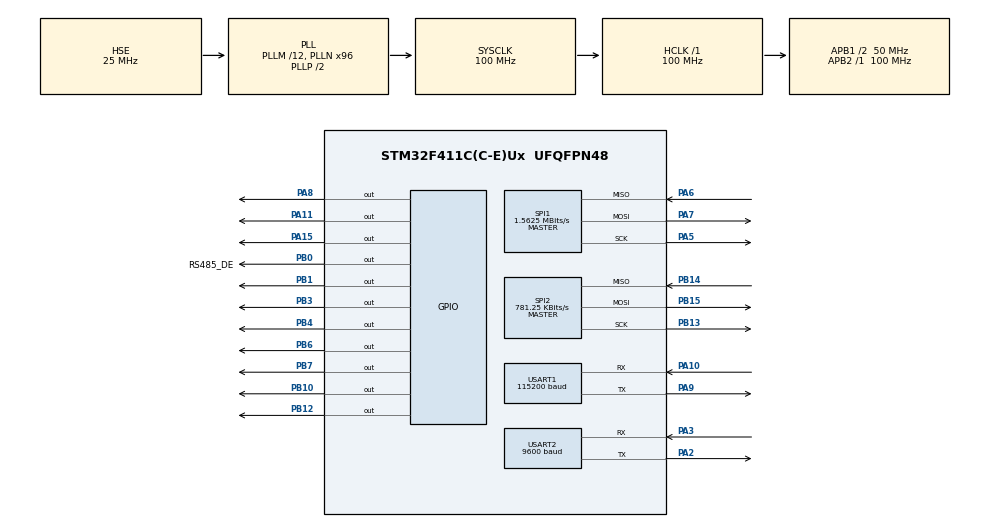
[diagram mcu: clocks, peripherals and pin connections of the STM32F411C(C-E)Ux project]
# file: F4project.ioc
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Dma.Request0=USART1_RX
Dma.Request1=USART1_TX
Dma.USART1_RX.0.Direction=DMA_PERIPH_TO_MEMORY
Dma.USART1_RX.0.FIFOMode=DMA_FIFOMODE_DISABLE
Dma.USART1_RX.0.Instance=DMA2_Stream2
Dma.USART1_RX.0.MemDataAlignment=DMA_MDATAALIGN_BYTE
Dma.USART1_RX.0.MemInc=DMA_MINC_ENABLE
Dma.USART1_RX.0.Mode=DMA_NORMAL
Dma.USART1_RX.0.PeriphDataAlignment=DMA_PDATAALIGN_BYTE
Dma.USART1_RX.0.PeriphInc=DMA_PINC_DISABLE
Dma.USART1_RX.0.Priority=DMA_PRIORITY_LOW
Dma.USART1_TX.1.Direction=DMA_MEMORY_TO_PERIPH
Dma.USART1_TX.1.FIFOMode=DMA_FIFOMODE_DISABLE
Dma.USART1_TX.1.Instance=DMA2_Stream7
Dma.USART1_TX.1.MemDataAlignment=DMA_MDATAALIGN_BYTE
Dma.USART1_TX.1.MemInc=DMA_MINC_ENABLE
Dma.USART1_TX.1.Mode=DMA_NORMAL
Dma.USART1_TX.1.PeriphDataAlignment=DMA_PDATAALIGN_BYTE
Dma.USART1_TX.1.PeriphInc=DMA_PINC_DISABLE
Dma.USART1_TX.1.Priority=DMA_PRIORITY_LOW
FREERTOS.Tasks01=defaultTask,24,128,StartDefaultTask,Default,NULL,Dynamic,NULL,NULL
FREERTOS.configUSE_TICKLESS_IDLE=2
IWDG.Prescaler=IWDG_PRESCALER_256
IWDG.Reload=2500-1
Mcu.Family=STM32F4
Mcu.Name=STM32F411C(C-E)Ux
Mcu.Package=UFQFPN48
NVIC.DMA2_Stream2_IRQn=true\:5\:0\:false\:false\:true\:true\:false\:true\:true
NVIC.DMA2_Stream7_IRQn=true\:5\:0\:false\:false\:true\:true\:false\:true\:true
NVIC.PriorityGroup=NVIC_PRIORITYGROUP_4
NVIC.RTC_WKUP_IRQn=true\:5\:0\:false\:false\:true\:true\:true\:true\:true
NVIC.TIM3_IRQn=true\:5\:0\:false\:false\:true\:true\:true\:true\:true
NVIC.TIM4_IRQn=true\:15\:0\:false\:false\:true\:false\:false\:true\:true
NVIC.TimeBase=TIM4_IRQn
NVIC.TimeBaseIP=TIM4
NVIC.USART1_IRQn=true\:5\:0\:false\:false\:true\:true\:true\:true\:true
NVIC.USART2_IRQn=true\:5\:0\:false\:false\:true\:true\:true\:true\:true
PA10.Mode=Asynchronous
PA10.Signal=USART1_RX
PA11.Signal=GPIO_Output
PA13.Mode=Serial_Wire
PA13.Signal=SYS_JTMS-SWDIO
PA14.Mode=Serial_Wire
PA14.Signal=SYS_JTCK-SWCLK
PA15.Signal=GPIO_Output
PA2.Mode=Asynchronous
PA2.Signal=USART2_TX
PA3.Mode=Asynchronous
PA3.Signal=USART2_RX
PA5.Mode=Full_Duplex_Master
PA5.Signal=SPI1_SCK
PA6.Mode=Full_Duplex_Master
PA6.Signal=SPI1_MISO
PA7.Mode=Full_Duplex_Master
PA7.Signal=SPI1_MOSI
PA8.PinState=GPIO_PIN_SET
PA8.Signal=GPIO_Output
PA9.GPIO_PuPd=GPIO_PULLUP
PA9.Mode=Asynchronous
PA9.Signal=USART1_TX
PB0.GPIO_Label=RS485_DE
PB0.Signal=GPIO_Output
PB1.Signal=GPIO_Output
PB10.GPIO_ModeDefaultOutputPP=GPIO_MODE_OUTPUT_PP
PB10.GPIO_PuPd=GPIO_NOPULL
PB10.PinState=GPIO_PIN_SET
PB10.Signal=GPIO_Output
PB12.PinState=GPIO_PIN_SET
PB12.Signal=GPIO_Output
PB13.Mode=Full_Duplex_Master
PB13.Signal=SPI2_SCK
PB14.Mode=Full_Duplex_Master
PB14.Signal=SPI2_MISO
PB15.Mode=Full_Duplex_Master
PB15.Signal=SPI2_MOSI
PB3.PinState=GPIO_PIN_SET
PB3.Signal=GPIO_Output
PB4.PinState=GPIO_PIN_SET
PB4.Signal=GPIO_Output
PB6.GPIO_ModeDefaultOutputPP=GPIO_MODE_OUTPUT_PP
PB6.GPIO_PuPd=GPIO_NOPULL
PB6.PinState=GPIO_PIN_SET
PB6.Signal=GPIO_Output
PB7.GPIO_ModeDefaultOutputPP=GPIO_MODE_OUTPUT_PP
PB7.GPIO_PuPd=GPIO_NOPULL
PB7.PinState=GPIO_PIN_SET
PB7.Signal=GPIO_Output
PC14-OSC32_IN.Mode=LSE-External-Oscillator
PC14-OSC32_IN.Signal=RCC_OSC32_IN
PC15-OSC32_OUT.Mode=LSE-External-Oscillator
PC15-OSC32_OUT.Signal=RCC_OSC32_OUT
PH0\ -\ OSC_IN.Mode=HSE-External-Oscillator
PH0\ -\ OSC_IN.Signal=RCC_OSC_IN
PH1\ -\ OSC_OUT.Mode=HSE-External-Oscillator
PH1\ -\ OSC_OUT.Signal=RCC_OSC_OUT
ProjectManager.HeapSize=0x200
ProjectManager.StackSize=0x400
ProjectManager.TargetToolchain=MDK-ARM V5.32
RCC.48MHZClocksFreq_Value=50000000
RCC.AHBFreq_Value=100000000
RCC.APB1CLKDivider=RCC_HCLK_DIV2
RCC.APB1Freq_Value=50000000
RCC.APB1TimFreq_Value=100000000
RCC.APB2Freq_Value=100000000
RCC.APB2TimFreq_Value=100000000
RCC.CortexFreq_Value=100000000
RCC.HCLKFreq_Value=100000000
RCC.HSE_VALUE=25000000
RCC.HSI_VALUE=16000000
RCC.PLLM=12
RCC.PLLN=96
RCC.PLLSourceVirtual=RCC_PLLSOURCE_HSE
RCC.RCC_RTC_Clock_Source=RCC_RTCCLKSOURCE_LSE
RCC.RCC_RTC_Clock_SourceVirtual=RCC_RTCCLKSOURCE_LSE
RCC.SYSCLKFreq_VALUE=100000000
RCC.SYSCLKSource=RCC_SYSCLKSOURCE_PLLCLK
RCC.VCOOutputFreq_Value=200000000
SPI1.BaudRatePrescaler=SPI_BAUDRATEPRESCALER_64
SPI1.CalculateBaudRate=1.5625 MBits/s
SPI1.Direction=SPI_DIRECTION_2LINES
SPI1.Mode=SPI_MODE_MASTER
SPI1.VirtualType=VM_MASTER
SPI2.BaudRatePrescaler=SPI_BAUDRATEPRESCALER_64
SPI2.CalculateBaudRate=781.25 KBits/s
SPI2.Direction=SPI_DIRECTION_2LINES
SPI2.Mode=SPI_MODE_MASTER
SPI2.VirtualType=VM_MASTER
TIM3.Period=1000-1
TIM3.Prescaler=100-1
USART1.BaudRate=115200
USART1.VirtualMode=VM_ASYNC
USART2.BaudRate=9600
USART2.VirtualMode=VM_ASYNC
VP_FREERTOS_VS_CMSIS_V2.Mode=CMSIS_V2
VP_IWDG_VS_IWDG.Mode=IWDG_Activate
VP_RTC_VS_RTC_Activate.Mode=RTC_Enabled
VP_RTC_VS_RTC_WakeUp_intern.Mode=WakeUp
VP_SYS_VS_tim4.Mode=TIM4
VP_TIM3_VS_ClockSourceINT.Mode=Internal
board=custom

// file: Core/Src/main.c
/* USER CODE BEGIN Header */
/**
  ******************************************************************************
  * @file           : main.c
  * @brief          : Main program body
  ******************************************************************************
  * @attention
  *
  * Copyright (c) 2026 STMicroelectronics.
  * All rights reserved.
  *
  * This software is licensed under terms that can be found in the LICENSE file
  * in the root directory of this software component.
  * If no LICENSE file comes with this software, it is provided AS-IS.
  *
  ******************************************************************************
  */
/* USER CODE END Header */
#include "main.h"
#include "FreeRTOS.h"   /* configUSE_PREEMPTION / configTICK_RATE_HZ ... */
#include "task.h"       /* vTaskStartScheduler() —— 原生 API，替代 osKernelStart() */
#include "dma.h"
#include "iwdg.h"
#include "rtc.h"
#include "spi.h"
#include "tim.h"
#include "usart.h"
#include "gpio.h"

/* USER CODE BEGIN Includes */
#include "lcd.h"
#include "touch.h"
#include "stdio.h"
#include "string.h"
#include "lvgl.h"
#include "lv_port_disp.h"
#include "lv_port_indev.h"
#include "page_main.h"
#include "modbus.h"
#include "command.h"
#include "ESP_at.h"
#include "libemqtt.h"
#include "pal.h"
#include "app_data.h"    /* Data_t：xQueueCreate 两个邮箱队列 */
#include "bsp_watchdog.h"/* IWDG 校准 + 签到制喂狗接口 */
#include "queue.h"
#include "semphr.h"
#include "bsp_flash.h"
#include "flash.h"

/* USER CODE END Includes */

/* USER CODE BEGIN PD */
extern DMA_HandleTypeDef hdma_usart1_rx;

/* USER CODE END PD */

/* USER CODE BEGIN PV */
void Log_EraseAll(void);
/* USER CODE END PV */

void SystemClock_Config(void);
void MX_FREERTOS_Init(void);
/* USER CODE BEGIN PFP */
extern UART_HandleTypeDef huart2;
extern DMA_HandleTypeDef hdma_usart2_rx;
extern DMA_HandleTypeDef hdma_usart2_tx;

extern QueueHandle_t data_queue;
extern SemaphoreHandle_t uart1_mutex;
extern QueueHandle_t lvgl_data_queue;
uint8_t a[256];

/* USER CODE END PFP */

/* USER CODE BEGIN 0 */
/* USER CODE BEGIN 0 */
// ??????????(????)

/* USER CODE END 0 */

int main(void)
{

  /* MCU Configuration--------------------------------------------------------*/

  /* Reset of all peripherals, Initializes the Flash interface and the Systick. */
  HAL_Init();

  /* Configure the system clock */
  SystemClock_Config();

  /* IWDG 校准结果。测量在调度器启动前完成，日志推迟到这里之后打印 */
  wdg_cal_result_t wdg_cal = { 0U, 0U, 0U, -1 };

  /* USER CODE BEGIN SysInit */
//SysTick_Config(SystemCoreClock / 1000);
  /* USER CODE END SysInit */

  /* Initialize all configured peripherals */
  MX_GPIO_Init();
  MX_DMA_Init();
  MX_SPI1_Init();
  MX_USART2_UART_Init();
  MX_TIM3_Init();
  MX_USART1_UART_Init();
  MX_SPI2_Init();
  MX_IWDG_Init();
  MX_RTC_Init();
  /* USER CODE BEGIN 2 */
	SPI_FLASH_Init();       // 使能 SPI + 配置 CS
	HAL_TIM_Base_Start_IT(&htim3);
	HAL_IWDG_Init(&hiwdg);					//启动看门狗
	/* 校准 IWDG 超时：LSI 精度很差（F4 上芯片间跨度约 17~32kHz），
	 * 不校准的话"20 秒"实际可能是 20~38 秒。这里用 TIM5_CH4 输入捕获、
	 * 以 HSE 为时基测出本芯片的 LSI 频率，反算重装载值，使超时精确等于
	 * APP_IWDG_TIMEOUT_S（12 秒）。
	 *
	 * 放在这里的原因：IWDG 已启动（原配置 20 秒，够这次测量用 —— 校准过程
	 * 本身不喂狗，必须保证它短于当前超时）、而 DMA 接收和各种中断还没打开，
	 * 测量环境最干净。失败也没关系：内部会保留原配置，只是超时不准。
	 *
	 * 注意：这里不写 Flash 日志 —— 此时 TIM4 中断已在跑 HAL_GetTick()，
	 * 在中断环境下操作 SPI Flash 不安全。日志推迟到调度器启动后打印。 */
	(void)AppWatchdog_Calibrate(&wdg_cal);

	FlashCache_Init();  							//定位下一条数据的写入地址
	RS485_RX;
	HAL_UARTEx_ReceiveToIdle_DMA(&huart1,a,sizeof(a));					//DMA接收空闲中断(ESP8266传数据到MCU 并放在环形缓冲区)
	__HAL_DMA_DISABLE_IT(&hdma_usart1_rx,DMA_IT_HT);						//关闭过半中断

// 创建队列：最多存 1 条温湿度数据 覆盖式写入
data_queue = xQueueCreate(1, sizeof(Data_t));
lvgl_data_queue= xQueueCreate(1, sizeof(Data_t));

uart1_mutex =xSemaphoreCreateMutex();							//创建互斥锁 （谁上锁 谁才能开锁）
flash_mutex=xSemaphoreCreateMutex();

 //Log_EraseAll();							// 偶尔要擦除日志区

  /* USER CODE END 2 */

  /* Init scheduler */
  /* 原生 FreeRTOS 不需要像 CMSIS-RTOS2 那样先调 osKernelInitialize()：
     内核的数据结构由 vTaskStartScheduler() 内部初始化（pxCurrentTCB、
     就绪/延时链表、空闲任务、软件定时器任务）。原来的那行空壳调用已删除。 */
  MX_FREERTOS_Init();			//创建默认任务   进入就绪态，但还没开始运行（调度器未启动）
  /* Start scheduler */
  vTaskStartScheduler();		//启动 FreeRTOS 任务调度器，操作系统正式运行   开启调度，多任务并发运行

//不再往下执行了
  /* We should never get here as control is now taken by the scheduler */

  /* Infinite loop */
  /* USER CODE BEGIN WHILE */
/* USER CODE BEGIN WHILE */
while (1)
{
	/* USER CODE BEGIN WHILE */

    /* USER CODE END WHILE */

  }
}

/**  Cubmx自动生成的时钟树代码，用户不要修改*/
void SystemClock_Config(void)
{
  RCC_OscInitTypeDef RCC_OscInitStruct = {0};
  RCC_ClkInitTypeDef RCC_ClkInitStruct = {0};

  /** Configure the main internal regulator output voltage
  */
  __HAL_RCC_PWR_CLK_ENABLE();
  __HAL_PWR_VOLTAGESCALING_CONFIG(PWR_REGULATOR_VOLTAGE_SCALE1);

  /** Initializes the RCC Oscillators according to the specified parameters
  * in the RCC_OscInitTypeDef structure.
  */
  RCC_OscInitStruct.OscillatorType = RCC_OSCILLATORTYPE_LSI|RCC_OSCILLATORTYPE_HSE
                              |RCC_OSCILLATORTYPE_LSE;
  RCC_OscInitStruct.HSEState = RCC_HSE_ON;
  RCC_OscInitStruct.LSEState = RCC_LSE_ON;
  RCC_OscInitStruct.LSIState = RCC_LSI_ON;
  RCC_OscInitStruct.PLL.PLLState = RCC_PLL_ON;
  RCC_OscInitStruct.PLL.PLLSource = RCC_PLLSOURCE_HSE;
  RCC_OscInitStruct.PLL.PLLM = 12;
  RCC_OscInitStruct.PLL.PLLN = 96;
  RCC_OscInitStruct.PLL.PLLP = RCC_PLLP_DIV2;
  RCC_OscInitStruct.PLL.PLLQ = 4;
  if (HAL_RCC_OscConfig(&RCC_OscInitStruct) != HAL_OK)
  {
    Error_Handler();
  }

  /** Initializes the CPU, AHB and APB buses clocks
  */
  RCC_ClkInitStruct.ClockType = RCC_CLOCKTYPE_HCLK|RCC_CLOCKTYPE_SYSCLK
                              |RCC_CLOCKTYPE_PCLK1|RCC_CLOCKTYPE_PCLK2;
  RCC_ClkInitStruct.SYSCLKSource = RCC_SYSCLKSOURCE_PLLCLK;
  RCC_ClkInitStruct.AHBCLKDivider = RCC_SYSCLK_DIV1;
  RCC_ClkInitStruct.APB1CLKDivider = RCC_HCLK_DIV2;
  RCC_ClkInitStruct.APB2CLKDivider = RCC_HCLK_DIV1;

  if (HAL_RCC_ClockConfig(&RCC_ClkInitStruct, FLASH_LATENCY_3) != HAL_OK)
  {
    Error_Handler();
  }
}//Cubmx自动生成的代码，用户不要修改

void HAL_TIM_PeriodElapsedCallback(TIM_HandleTypeDef *htim)					//定时器中断回调函数
{
  /* USER CODE BEGIN Callback 0 */

	if(htim==&htim3)									//lvgl的心跳函数
	{
		lv_tick_inc(1);									//告诉 LVGL 又过去了 1 毫秒
	}
  /* USER CODE END Callback 0 */
  if (htim->Instance == TIM4)
  {
    HAL_IncTick();				//递增HAL库系统滴答计时 对应 HAL_GetTick()
  }
}

void Error_Handler(void)
{
  __disable_irq();
  while (1)
  {
  }
}
#ifdef USE_FULL_ASSERT
/**
  * @brief  Reports the name of the source file and the source line number
  *         where the assert_param error has occurred.
  * @param  file: pointer to the source file name
  * @param  line: assert_param error line source number
  * @retval None
  */
void assert_failed(uint8_t *file, uint32_t line)
{
  /* USER CODE BEGIN 6 */
  /* User can add his own implementation to report the file name and line number,
     ex: u1_printf("Wrong parameters value: file %s on line %d\r\n", file, line) */
  /* USER CODE END 6 */
}
#endif /* USE_FULL_ASSERT */

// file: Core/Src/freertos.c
/* USER CODE BEGIN Header */
/**
  ******************************************************************************
  * File Name          : freertos.c
  * Description        : Code for freertos applications
  ******************************************************************************
  * @attention
  *
  * Copyright (c) 2026 STMicroelectronics.
  * All rights reserved.
  *
  * This software is licensed under terms that can be found in the LICENSE file
  * in the root directory of this software component.
  * If no LICENSE file comes with this software, it is provided AS-IS.
  *
  ******************************************************************************
  */
/* USER CODE END Header */

#include "FreeRTOS.h"
#include "task.h"
#include "main.h"       /* HAL 类型 + LCD/背光相关声明 */

/* USER CODE BEGIN Includes */
#include "lcd.h"
#include "touch.h"
#include "stdio.h"
#include "string.h"
#include "lvgl.h"
#include "lv_port_disp.h"
#include "lv_port_indev.h"
#include "page_main.h"
#include "modbus.h"
#include "command.h"
#include "ESP_at.h"
#include "libemqtt.h"
#include "pal.h"
#include "app_tasks.h"   /* UI / Modbus / AT / MQTT / Dog_task 任务函数名 */
#include "bsp_watchdog.h"/* wdg_cal_result_t（校准结果类型） */
#include "flash.h"       /* Log_Write：任务创建失败时留下证据 */
/* USER CODE END Includes */

/* USER CODE BEGIN PD */
extern TickType_t power_tick;

extern TickType_t idle_tick;
extern uint8_t lcd_bl_en ; //1亮屏 0熄屏

/* ---------------------------------------------------------------------------
 * 任务优先级
 *
 * 这里不再使用 CMSIS-RTOS2 的 osPriority* 枚举（那需要包含 cmsis_os2.h，
 * 而本工程已统一改为原生 FreeRTOS API）。下面这几个宏取的就是原先
 * CMSIS 枚举的数值（cmsis_os2.h: Normal=24, AboveNormal=32），
 * 因此任务的实际优先级与改动前完全一致，没有行为变化。
 *
 * 数值越大优先级越高（FreeRTOS 规则，0 保留给空闲任务）。
 * 提醒：这与 Cortex-M 的 NVIC 中断优先级相反（那里数值越小越高）。
 * ------------------------------------------------------------------------- */
#define APP_PRIO_NORMAL         (24)  /* 原 osPriorityNormal        */
#define APP_PRIO_ABOVE_NORMAL   (32)  /* 原 osPriorityAboveNormal   */
#define APP_PRIO_MODBUS         (APP_PRIO_NORMAL + 1)  /* 原 osPriorityNormal + 1 */
#define APP_PRIO_DOG            (APP_PRIO_ABOVE_NORMAL + 2) /* 原 osPriorityAboveNormal + 2 */

/* AT 任务刻意比 MQTT 低一级（24 → 23）。
 *
 * 原因：AT 和 MQTT 共用 uart1_mutex 保护 USART1 的发送通道。
 * 两者原来都是 24，属于"同优先级时间片轮转"关系——MQTT 拿到锁执行到一半，
 * 可能刚好撞上 SysTick 时间片切换（configTICK_RATE_HZ=1000，每 1ms 一次），
 * AT 被切进来后会阻塞在 uart1_mutex 上；反过来 AT 先拿到锁时，MQTT 也得等它。
 *
 * 让 AT 低一级后，MQTT 一旦拿到锁就不会被 AT 打断，锁能"用完即还"；
 * AT 也不会被饿死——它 99.99% 的时间都阻塞在 vTaskDelay(10000) 上，
 * 只有在 MQTT 也阻塞时才会运行，网络功能不受影响。 */
#define APP_PRIO_AT             (APP_PRIO_NORMAL - 1)
/* USER CODE END PD */

/* Definitions for defaultTask */
/* 原生 FreeRTOS 用 TaskHandle_t；原来的 osThreadId_t 只是 CMSIS 对它的 typedef，
   osThreadAttr_t（name/stack_size/priority 三个字段）在原生 API 里直接展开成
   xTaskCreate() 的实参，因此不再需要这两个 CMSIS 结构体。 */
TaskHandle_t defaultTaskHandle = NULL;

void StartDefaultTask(void *argument);

void MX_FREERTOS_Init(void); /* (MISRA C 2004 rule 8.1) */

/* USER CODE BEGIN VPORT_SUPPORT_TICKS_AND_SLEEP */
/**
 * @brief FreeRTOS tickless idle：睡眠期间停掉 tick 中断，让 CPU 真正睡下去
 * @param xExpectedIdleTime 预期可睡眠的 tick 数（configTICK_RATE_HZ=1000 → 约等于毫秒）
 *
 * ── 为什么需要自己实现 ──────────────────────────────────────────────
 * 本工程 configUSE_TICKLESS_IDLE = 2，该模式要求**用户提供**本函数。
 * port.c 里那份实现被 `#if( configUSE_TICKLESS_IDLE == 1 )` 包住，
 * 对本工程**不参与编译**；而 CubeMX 只生成了一个空函数体
 * （原来的注释是 "TO BE COMPLETED"）—— 即"配了 tickless 却从不睡觉"。
 *
 * ── 思路（Sleep 模式，不碰 Stop）────────────────────────────────────
 *   ① 关 SysTick 的 TICKINT 位 → tick 不再中断（但计数器照常跑）
 *   ② 关中断后确认没有就绪任务/挂起切换，否则放弃睡眠（避免漏调度）
 *   ③ 启动 RTC 唤醒定时器，约 xExpectedIdleTime 毫秒后唤醒
 *   ④ WFI 睡下 → Sleep 模式只停内核时钟，外设与 SRAM/VBAT 域照常
 *   ⑤ 醒来：停唤醒定时器，用 xTaskCatchUpTicks() 推进内核 tick
 *   ⑥ 前推 HAL tick（TIM4 在睡眠期间冻结），恢复 SysTick 中断
 *
 * ── 为什么两种 tick 都要补 ─────────────────────────────────────────
 *   · FreeRTOS tick：不补则所有 vTaskDelay 的时间会随睡眠累积变短
 *   · HAL tick（TIM4，挂 APB1）：入 Sleep 后内核时钟停 → TIM4 停 →
 *     HAL_GetTick() 冻结。它是**日志时间戳**和全部 HAL 超时的基准，
 *     不补就会随睡眠累积丢时间（本工程日志用的正是 HAL_GetTick()）。
 *
 * ── 与看门狗的关系（重要）──────────────────────────────────────────
 *   IWDG 由**独立的 LSI** 计数，20 秒超时不受 CPU 睡眠影响。
 *   tickless 只会在"下一个任务到期之前"睡，正常远小于 20 秒；
 *   但若真出现任务卡死导致长时间睡眠，IWDG 仍会照常复位整机 ——
 *   这正是要的：低功耗不能牺牲可靠性。
 *
 * ── 唤醒源为什么是 RTC 而不是 SysTick ──────────────────────────────
 *   SysTick 属于 Cortex-M 内核，进 Sleep 后内核时钟停 → 它自己也停，
 *   **无法唤醒自己**。RTC 由独立的 LSE 驱动，低功耗下天然存活。
 *   注意 RTC 唤醒中断优先级是 5（见 rtc.c），高于
 *   configMAX_SYSCALL_INTERRUPT_PRIORITY 对应的屏蔽门限，
 *   所以它不会被 BASEPRI 屏蔽，能正常唤醒 —— 这是前提。
 */
void vPortSuppressTicksAndSleep( TickType_t xExpectedIdleTime )
{
    TickType_t xLeaveTick;      /* 进入睡眠时刻（丢的部分 tick 最多 1ms） */
    TickType_t xElapsed;        /* 醒来后核对的 tick 差 */
    uint32_t   xSleep_ms;       /* 本次**实际**睡眠毫秒数 */

    /* 睡太短不值得：进出低功耗本身有开销 */
    if (xExpectedIdleTime < 2U) {
        return;
    }

    /* ① 关掉 SysTick 的 tick 中断。
     *    只清 TICKINT（不整条停掉 SysTick）：计数器继续走，
     *    省得恢复时还要重设 LOAD/VAL；唤醒后由 xTaskCatchUpTicks 统一补。 */
    SysTick->CTRL &= ~SysTick_CTRL_TICKINT_Msk;

    /* ② 关中断。
     *    这里用 __disable_irq() 而不是 taskENTER_CRITICAL()：
     *    后者会把所有优先级低于 configMAX_SYSCALL_INTERRUPT_PRIORITY
     *    的中断一并屏蔽，而被屏蔽的中断本来是可以把 CPU 唤醒的。
     *    RTC 唤醒中断优先级为 5，不在 BASEPRI 屏蔽范围内，仍能唤醒。 */
    __disable_irq();
    __DSB();
    __ISB();

    /* 若已有就绪任务或挂起的上下文切换，说明不该睡 */
    if (eTaskConfirmSleepModeStatus() == eAbortSleep) {
        SysTick->CTRL |= SysTick_CTRL_TICKINT_Msk;
        __enable_irq();
        return;
    }

    xLeaveTick = xTaskGetTickCount();

    /* ③ 启动 RTC 唤醒定时器。
     *    返回**实际**睡眠毫秒数：唤醒计数器是 16 位，DIV2 下最长约 4 秒，
     *    超过 APP_TICKLESS_MAX_MS 的请求会被截短。必须用返回值来补偿 tick，
     *    否则内核时间会凭空快进（例如 AT 任务空闲 10 秒却按 10 秒补偿，
     *    而实际只睡了 3.9 秒）。 */
    xSleep_ms = AppRtcWakeup_Start((uint32_t)xExpectedIdleTime);
    if (xSleep_ms == 0U) {
        /* 唤醒源起不来就**绝不能睡**：否则没有东西能叫醒 CPU（死等） */
        SysTick->CTRL |= SysTick_CTRL_TICKINT_Msk;
        __enable_irq();
        return;
    }

    /* ④ 睡下。用 HAL_PWR_EnterSLEEPMode 而非裸 __WFI()：
     *    它会先清 SCB->SCR 的 SLEEPDEEP 位，确保进的是 **Sleep** 而不是
     *    Stop —— Stop 会关掉大部分时钟，USART/SPI 时序和 AT 心跳都得重配。 */
    __enable_irq();         /* WFI 需要中断使能才能被唤醒；上方状态已确认安全 */
    HAL_PWR_EnterSLEEPMode( PWR_MAINREGULATOR_ON, PWR_SLEEPENTRY_WFI );

    /* ⑤ 醒来：先停唤醒定时器，免得它继续产生中断 */
    __disable_irq();
    AppRtcWakeup_Stop();

    xElapsed = xTaskGetTickCount() - xLeaveTick;

    /* ⑥ 补偿内核 tick。
     *    xTaskCatchUpTicks() 是官方为"中断被长时间关闭"提供的接口
     *    （task.h:2501 注释原文），它会正确处理因此到期的阻塞任务，
     *    比 vTaskStepTick() 更适合本场景（后者不处理任务解除阻塞）。 */
    if (xSleep_ms > (uint32_t)xElapsed) {
        (void)xTaskCatchUpTicks( (TickType_t)( xSleep_ms - (uint32_t)xElapsed ) );
    }

    /* ⑦ HAL tick 同样前推 */
    AppHalTick_Advance( xSleep_ms );

    /* ⑧ 恢复 SysTick 中断与全局中断 */
    SysTick->CTRL |= SysTick_CTRL_TICKINT_Msk;
    __enable_irq();
}
/* USER CODE END VPORT_SUPPORT_TICKS_AND_SLEEP */

void MX_FREERTOS_Init(void) {

  /* Create the thread(s) */
  /* creation of defaultTask —— 原生 xTaskCreate 替代 osThreadNew
     栈单位换算：CMSIS 的 .stack_size 是“字节”，FreeRTOS 的 usStackDepth 是“字(word)”。
     cmsis_os2.c 内部就是 stack = attr->stack_size / sizeof(StackType_t)，
     所以 128 * 4 字节  ==  128 字（sizeof(StackType_t) == 4，ARM_CM4F 端口）。
     原 CMSIS 属性 defaultTask_attributes 已随之删除，避免两套定义并存。*/
  if (xTaskCreate(StartDefaultTask, "defaultTask", 128, NULL,
                  (UBaseType_t) APP_PRIO_NORMAL, &defaultTaskHandle) != pdPASS)
  {
      Log_Write(LOG_ERROR, "defaultTask create fail");
      configASSERT(0);
  }

}

void StartDefaultTask(void *argument)
{
  /* USER CODE BEGIN StartDefaultTask */

		//  任务函数  任务的名字  栈大小,单位为word  调用任务函数时传入的参数  优先级  任务句柄, 以后使用它来操作这个任务

  /** 任务创建统一处理
   *
   *  xTaskCreate 返回 pdFAIL 的唯一常见原因是 heap_4 堆内存不足
   *  （本工程 configTOTAL_HEAP_SIZE = 15360 字节，而 5 个任务的栈就要
   *   1024+512*4 = 3072 字 = 12288 字节，加上 TCB/队列，余量很小）。
   *
   *  失败时先 Log_Write 把 "xxxTask create fail" 写进 W25Q64 日志分区留下证据，
   *  再 configASSERT。
   *
   *  ⚠️ 注意 configASSERT 的定义是"关中断 + 死循环"（FreeRTOSConfig.h:155），
   *  所以这里必然停机——但至少日志页能看到是哪个任务没建起来，
   *  比"任务静默消失、表现为某个功能莫名其妙不可用"好排查得多。
   *  如果不希望现场设备因建任务失败而卡死，把 configASSERT(0) 删掉即可
   *  （宁可少一个功能，也不要整机停机）。
   *
   *  注意：任务名是字符串字面量，不能用 (name) " create fail" 这种
   *  相邻字符串拼接（那会变成 ("UITask") " create fail" 而编译失败），
   *  所以这里用 snprintf 在运行时拼出消息。 */
  #define APP_CREATE_TASK(fn, name, stack, prio)                              \
      do {                                                                    \
          if (xTaskCreate((fn), (name), (stack), NULL, (prio), NULL) != pdPASS) { \
              char _msg[40];                                                  \
              snprintf(_msg, sizeof(_msg), "%s create fail", (name));          \
              Log_Write(LOG_ERROR, _msg);                                     \
              configASSERT(0);                                                \
          }                                                                   \
      } while (0)

  // UI 任务(LVGL) 栈必须大！  优先级 32
  APP_CREATE_TASK(UI, "UITask", 1024, APP_PRIO_ABOVE_NORMAL);

  // Modbus 任务  优先级 25
  APP_CREATE_TASK(Modbus, "SensorTask", 512, APP_PRIO_MODBUS);

  // 网络 AT 任务  优先级 23（刻意低于 MQTT，见 APP_PRIO_AT 的说明）
  APP_CREATE_TASK(AT, "NetworkTask", 512, APP_PRIO_AT);

  // MQTT 任务  优先级 24
  APP_CREATE_TASK(MQTT, "MQTTTask", 512, APP_PRIO_NORMAL);

  //看门狗   优先级最高(34)。检查周期 1 秒、超时 20 秒，详见 app_data.h 里的说明
  APP_CREATE_TASK(Dog_task, "Dog_task", 512, APP_PRIO_DOG);

power_tick = xTaskGetTickCount();

idle_tick = xTaskGetTickCount();

lcd_bl_en = 1;

  /* ==========================================================================
   * 上报 IWDG 校准结果
   *
   * AppWatchdog_Calibrate() 是在调度器启动【前】调用的（见 main.c）——
   * 那时 TIM4 中断已经在跑 HAL_GetTick()，在中断环境下写 SPI Flash 日志不安全，
   * 所以测量结果通过 wdg_cal 带到这里，等调度器起来后再打印。
   *
   * 三条日志都远短于 LOG_CONTENT_LEN(64)，sprintf 安全。
   * ======================================================================== */
  {
      extern wdg_cal_result_t wdg_cal;   /* 定义在 main.c */

      if (wdg_cal.status == 0) {
          char wdg_line[64];
          sprintf(wdg_line, "WDG cal OK LSI=%luHz psc=%u RLR=%lu",
                  (unsigned long)wdg_cal.measured_hz,
                  (unsigned)wdg_cal.prescaler,
                  (unsigned long)wdg_cal.reload);
          Log_Write(LOG_INFO, wdg_line);
      } else if (wdg_cal.status == -3) {
          Log_Write(LOG_WARN, "WDG cal: IWDG reg update timeout");
      } else if (wdg_cal.status == -4) {
          Log_Write(LOG_ERROR, "WDG cal: result unsafe, keep default");
      } else {
          Log_Write(LOG_WARN, "WDG cal failed, keep default");
      }
  }

  // ========================
  // 创建完成，删除自身
  // ========================
  vTaskDelete(NULL);

  // 下面永远不会执行

  /* Infinite loop */
  for(;;)
  {
    /* 原生 API：osDelay(1) 在 cmsis_os2.c 里就是 vTaskDelay(ticks) 的一层转发。
       注意本行永远执行不到（上面已 vTaskDelete(NULL)），保留只是为了保持结构完整。 */
    vTaskDelay(1);
  }
  /* USER CODE END StartDefaultTask */
}
